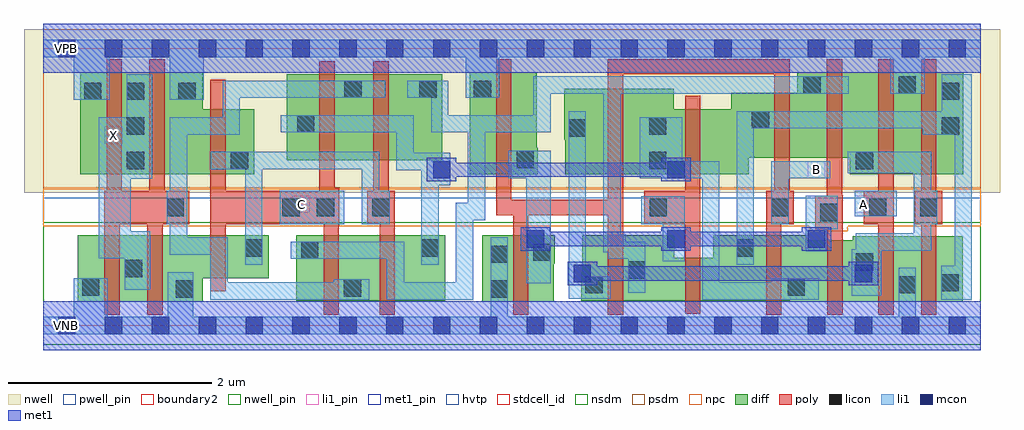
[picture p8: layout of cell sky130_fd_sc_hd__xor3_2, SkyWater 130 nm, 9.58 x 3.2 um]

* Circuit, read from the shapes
.subckt sky130_fd_sc_hd__xor3_2 A B C VGND VNB VPB VPWR X
XM1 X n1 VGND VNB sky130_fd_pr__nfet_01v8 w=0.65 l=0.15 m=2
XM2 n2 C VGND VNB sky130_fd_pr__nfet_01v8 w=0.42 l=0.15
XM3 n1 C n3 VNB sky130_fd_pr__nfet_01v8 w=0.64 l=0.15
XM4 n4 n2 n1 VNB sky130_fd_pr__nfet_01v8 w=0.64 l=0.15
XM5 n5 B VGND VNB sky130_fd_pr__nfet_01v8 w=0.65 l=0.15
XM6 n3 B n6 VNB sky130_fd_pr__nfet_01v8 w=0.64 l=0.15
XM7 n7 n5 n3 VNB sky130_fd_pr__nfet_01v8 w=0.42 l=0.15
XM8 n4 B n7 VNB sky130_fd_pr__nfet_01v8 w=0.64 l=0.15
XM9 n6 n5 n4 VNB sky130_fd_pr__nfet_01v8 w=0.6 l=0.15
XM10 VGND A n6 VNB sky130_fd_pr__nfet_01v8 w=0.64 l=0.15
XM11 n7 n6 VGND VNB sky130_fd_pr__nfet_01v8 w=0.64 l=0.15
XM12 X n1 VPWR VPB sky130_fd_pr__pfet_01v8_hvt w=1 l=0.15 m=2
XM13 n2 C VPWR VPB sky130_fd_pr__pfet_01v8_hvt w=0.64 l=0.15
XM14 n1 C n4 VPB sky130_fd_pr__pfet_01v8_hvt w=0.84 l=0.15
XM15 n3 n2 n1 VPB sky130_fd_pr__pfet_01v8_hvt w=0.84 l=0.15
XM16 n5 B VPWR VPB sky130_fd_pr__pfet_01v8_hvt w=1 l=0.15
XM17 n4 B n6 VPB sky130_fd_pr__pfet_01v8_hvt w=0.84 l=0.15
XM18 n7 n5 n4 VPB sky130_fd_pr__pfet_01v8_hvt w=0.64 l=0.15
XM19 n3 B n7 VPB sky130_fd_pr__pfet_01v8_hvt w=0.64 l=0.15
XM20 n6 n5 n3 VPB sky130_fd_pr__pfet_01v8_hvt w=0.84 l=0.15
XM21 VPWR A n6 VPB sky130_fd_pr__pfet_01v8_hvt w=1 l=0.15
XM22 n7 n6 VPWR VPB sky130_fd_pr__pfet_01v8_hvt w=1 l=0.15
.ends

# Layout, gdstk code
import gdstk
lib = gdstk.Library(unit=1e-6, precision=1e-09)
def R(c, l, rs):  # rectangles x0, y0, x1, y1
    for r in rs: c.add(gdstk.rectangle(r[:2], r[2:], *l))
def A(c, l, x, y, w, h, nx, ny, dx, dy):  # array of equal rectangles
    R(c, l, [(x+i*dx, y+j*dy, x+i*dx+w, y+j*dy+h) for i in range(nx) for j in range(ny)])
def P(c, l, *ps):  # polygons
    for p in ps: c.add(gdstk.Polygon(p, *l))
nwell_pin = (64, 16)
nwell = (64, 20)
diff = (65, 20)
poly = (66, 20)
licon = (66, 44)
li1_pin = (67, 16)
li1 = (67, 20)
mcon = (67, 44)
met1_pin = (68, 16)
met1 = (68, 20)
hvtp = (78, 44)
stdcell_id = (81, 4)
nsdm = (93, 44)
psdm = (94, 20)
npc = (95, 20)
pwell_pin = (122, 16)
boundary2 = (236, 0)

sky130_fd_sc_hd__xor3_2 = lib.new_cell('sky130_fd_sc_hd__xor3_2')
R(sky130_fd_sc_hd__xor3_2, nwell_pin, [(0.145,2.635,0.315,2.805)])
R(sky130_fd_sc_hd__xor3_2, nwell, [(-0.19,1.305,9.39,2.91)])
R(sky130_fd_sc_hd__xor3_2, diff, [(2.48,0.245,3.945,0.885), (2.39,1.625,3.915,2.465)])
P(sky130_fd_sc_hd__xor3_2, diff, [(0.34,0.235),(0.34,0.885),(2.21,0.885),(2.21,0.465),(1.565,0.465),(1.565,0.235)],
  [(0.36,1.485),(0.36,2.485),(1.565,2.485),(1.565,2.125),(2.07,2.125),(2.07,1.485)],
  [(4.185,1.485),(4.185,2.485),(4.845,2.485),(4.845,1.745),(4.855,1.745),(4.855,1.485)],
  [(4.31,0.235),(4.31,0.885),(5.02,0.885),(5.02,0.605),(5.01,0.605),(5.01,0.235)],
  [(7.33,0.235),(7.33,0.245),(5.28,0.245),(5.28,0.525),(5.29,0.525),(5.29,0.885),(6.195,0.885),(6.195,0.665),(6.575,0.665),(6.575,0.885),(7.495,0.885),(7.495,0.835),(7.945,0.835),(7.945,0.875),(9.025,0.875),(9.025,0.235)],
  [(5.125,1.485),(5.125,1.825),(5.115,1.825),(5.115,2.325),(6.19,2.325),(6.19,2.125),(6.75,2.125),(6.75,2.285),(7.4,2.285),(7.4,2.485),(9.03,2.485),(9.03,1.485),(7.915,1.485),(7.915,1.645),(6.925,1.645),(6.925,1.485)])
P(sky130_fd_sc_hd__xor3_2, poly, [(0.6,0.105),(0.6,1.325),(0.62,1.325),(0.62,2.615),(0.77,2.615),(0.77,1.325),(1.04,1.325),(1.04,2.615),(1.19,2.615),(1.19,1.325),(1.43,1.325),(1.43,0.995),(1.17,0.995),(1.17,0.105),(1.02,0.105),(1.02,0.995),(0.75,0.995),(0.75,0.105)],
  [(7.695,0.105),(7.695,0.945),(7.575,0.945),(7.575,1.275),(7.69,1.275),(7.69,2.615),(7.84,2.615),(7.84,1.28),(7.845,1.28),(7.845,0.105)],
  [(8.195,0.105),(8.195,0.995),(8.055,0.995),(8.055,1.325),(8.195,1.325),(8.195,2.615),(8.345,2.615),(8.345,0.105)],
  [(8.615,0.105),(8.615,0.995),(8.555,0.995),(8.555,1.325),(8.615,1.325),(8.615,2.615),(8.765,2.615),(8.765,1.325),(8.825,1.325),(8.825,0.995),(8.765,0.995),(8.765,0.105)],
  [(3.3,0.105),(3.3,0.995),(3.18,0.995),(3.18,1.325),(3.24,1.325),(3.24,2.595),(3.39,2.595),(3.39,1.325),(3.45,1.325),(3.45,0.105)],
  [(2.75,0.105),(2.75,0.995),(1.79,0.995),(1.79,0.335),(1.64,0.335),(1.64,2.415),(1.79,2.415),(1.79,1.325),(2.71,1.325),(2.71,2.595),(2.86,2.595),(2.86,1.355),(2.905,1.355),(2.905,0.985),(2.9,0.985),(2.9,0.105)],
  [(6.3,0.115),(6.3,0.995),(5.9,0.995),(5.9,1.325),(6.3,1.325),(6.3,2.255),(6.45,2.255),(6.45,0.115)],
  [(4.61,0.105),(4.61,1.085),(4.445,1.085),(4.445,2.615),(4.595,2.615),(4.595,1.235),(5.54,1.235),(5.54,2.615),(7.325,2.615),(7.325,1.325),(7.365,1.325),(7.365,0.995),(7.245,0.995),(7.245,0.105),(7.095,0.105),(7.095,1.325),(7.175,1.325),(7.175,2.465),(5.69,2.465),(5.69,0.105),(5.54,0.105),(5.54,1.085),(4.76,1.085),(4.76,0.105)])
A(sky130_fd_sc_hd__xor3_2, licon, 0.82, 1.535, 0.17, 0.17, 1, 3, 0, 0.34)
R(sky130_fd_sc_hd__xor3_2, licon, [(1.3,0.275,1.47,0.445), (4.39,0.275,4.56,0.445), (2.95,0.285,3.12,0.455), (0.38,0.295,0.55,0.465), (7.305,0.295,7.475,0.465), (5.32,0.315,5.49,0.485), (8.395,0.315,8.565,0.485), (8.815,0.335,8.985,0.505), (5.74,0.46,5.91,0.63), (0.8,0.475,0.97,0.645), (7.975,0.54,8.145,0.71), (4.39,0.615,4.56,0.785), (4.81,0.635,4.98,0.805), (2.53,0.655,2.7,0.825), (1.98,0.675,2.15,0.845), (3.71,0.675,3.88,0.845), (6.805,0.675,6.975,0.845), (7.625,1.025,7.795,1.195), (1.21,1.075,1.38,1.245), (2.345,1.075,2.515,1.245), (2.685,1.075,2.855,1.245), (3.23,1.075,3.4,1.245), (5.95,1.075,6.12,1.245), (7.145,1.075,7.315,1.245), (8.105,1.075,8.275,1.245), (8.605,1.075,8.775,1.245), (1.84,1.535,2.01,1.705), (5.945,1.535,6.115,1.705), (7.975,1.535,8.145,1.705), (4.645,1.545,4.815,1.715), (5.155,1.855,5.325,2.025), (5.945,1.875,6.115,2.045), (8.82,1.875,8.99,2.045), (2.49,1.895,2.66,2.065), (6.955,1.935,7.125,2.105), (0.4,2.215,0.57,2.385), (1.325,2.215,1.495,2.385), (8.82,2.215,8.99,2.385), (2.955,2.235,3.125,2.405), (3.69,2.235,3.86,2.405), (4.225,2.235,4.395,2.405), (7.46,2.275,7.63,2.445), (8.395,2.275,8.565,2.445)])
R(sky130_fd_sc_hd__xor3_2, li1_pin, [(2.445,1.105,2.615,1.275), (7.965,1.105,8.135,1.275), (7.505,1.445,7.675,1.615), (0.605,1.785,0.775,1.955)])
R(sky130_fd_sc_hd__xor3_2, li1, [(2.32,0.995,2.955,1.325), (7.965,1.075,8.375,1.325)])
P(sky130_fd_sc_hd__xor3_2, li1, [(1.98,0.595),(1.98,1.535),(1.645,1.535),(1.645,1.705),(3.295,1.705),(3.295,1.325),(3.4,1.325),(3.4,0.995),(3.125,0.995),(3.125,1.535),(2.15,1.535),(2.15,0.595)],
  [(6.08,0.63),(6.08,0.995),(5.87,0.995),(5.87,1.27),(6.295,1.27),(6.295,0.63)],
  [(6.465,0.255),(6.465,1.445),(5.855,1.445),(5.855,2.045),(6.27,2.045),(6.27,1.615),(6.635,1.615),(6.635,0.425),(7.145,0.425),(7.145,0.465),(7.61,0.465),(7.61,0.255)],
  [(7.145,0.995),(7.145,1.615),(7.725,1.615),(7.725,1.445),(7.315,1.445),(7.315,0.995)],
  [(7.485,0.73),(7.485,1.275),(7.795,1.275),(7.795,0.945),(7.69,0.945),(7.69,0.73)],
  [(3.37,0.255),(3.37,0.655),(2.43,0.655),(2.43,0.825),(3.54,0.825),(3.54,0.425),(4.05,0.425),(4.05,1.205),(4.165,1.205),(4.165,1.895),(3.805,1.895),(3.805,2.235),(3.57,2.235),(3.57,2.405),(3.975,2.405),(3.975,2.065),(4.81,2.065),(4.81,2.445),(7.905,2.445),(7.905,2.275),(5.665,2.275),(5.665,0.89),(5.715,0.89),(5.715,0.825),(5.91,0.825),(5.91,0.32),(5.74,0.32),(5.74,0.655),(5.545,0.655),(5.545,0.72),(5.495,0.72),(5.495,2.275),(4.98,2.275),(4.98,1.895),(4.335,1.895),(4.335,1.035),(4.22,1.035),(4.22,0.255)],
  [(7.935,0.295),(7.935,0.75),(7.975,0.75),(7.975,0.905),(8.545,0.905),(8.545,1.495),(7.895,1.495),(7.895,1.705),(8.715,1.705),(8.715,1.325),(8.775,1.325),(8.775,0.995),(8.715,0.995),(8.715,0.735),(8.225,0.735),(8.225,0.295)],
  [(8.815,0.255),(8.815,0.585),(8.945,0.585),(8.945,1.875),(8.63,1.875),(8.63,1.935),(6.975,1.935),(6.975,0.595),(6.805,0.595),(6.805,2.105),(8.82,2.105),(8.82,2.465),(9.115,2.465),(9.115,0.255)],
  [(0.3,2.215),(0.3,2.635),(0,2.635),(0,2.805),(9.2,2.805),(9.2,2.635),(8.65,2.635),(8.65,2.275),(8.315,2.275),(8.315,2.635),(4.475,2.635),(4.475,2.235),(4.145,2.235),(4.145,2.635),(1.575,2.635),(1.575,2.215),(1.24,2.215),(1.24,2.635),(0.65,2.635),(0.65,2.215)],
  [(0,-0.085),(0,0.085),(0.3,0.085),(0.3,0.465),(0.63,0.465),(0.63,0.085),(1.22,0.085),(1.22,0.525),(1.47,0.525),(1.47,0.085),(4.39,0.085),(4.39,0.865),(4.56,0.865),(4.56,0.085),(8.395,0.085),(8.395,0.565),(8.565,0.565),(8.565,0.085),(9.2,0.085),(9.2,-0.085)],
  [(0.8,0.35),(0.8,0.66),(0.545,0.66),(0.545,2.045),(0.82,2.045),(0.82,2.465),(1.07,2.465),(1.07,1.44),(0.86,1.44),(0.86,0.925),(1.05,0.925),(1.05,0.35)],
  [(4.74,0.415),(4.74,1.445),(4.565,1.445),(4.565,1.715),(4.98,1.715),(4.98,0.415)],
  [(3.71,0.595),(3.71,1.525),(3.465,1.525),(3.465,1.895),(2.33,1.895),(2.33,2.065),(3.635,2.065),(3.635,1.695),(3.995,1.695),(3.995,1.375),(3.88,1.375),(3.88,0.595)],
  [(1.64,0.255),(1.64,0.695),(1.24,0.695),(1.24,0.995),(1.21,0.995),(1.21,1.325),(1.24,1.325),(1.24,2.045),(1.76,2.045),(1.76,2.405),(3.355,2.405),(3.355,2.235),(1.93,2.235),(1.93,1.875),(1.41,1.875),(1.41,0.865),(1.81,0.865),(1.81,0.425),(2.85,0.425),(2.85,0.455),(3.2,0.455),(3.2,0.255)],
  [(5.155,0.265),(5.155,2.105),(5.325,2.105),(5.325,0.595),(5.375,0.595),(5.375,0.485),(5.57,0.485),(5.57,0.265)])
A(sky130_fd_sc_hd__xor3_2, mcon, 0.145, -0.085, 0.17, 0.17, 20, 2, 0.46, 2.72)
A(sky130_fd_sc_hd__xor3_2, mcon, 4.745, 0.765, 0.17, 0.17, 3, 1, 1.38, 0)
R(sky130_fd_sc_hd__xor3_2, mcon, [(5.205,0.425,5.375,0.595), (7.965,0.425,8.135,0.595), (3.825,1.445,3.995,1.615), (6.125,1.445,6.295,1.615)])
R(sky130_fd_sc_hd__xor3_2, met1_pin, [(0.145,-0.085,0.315,0.085), (0.145,2.635,0.315,2.805)])
P(sky130_fd_sc_hd__xor3_2, met1, [(3.765,1.415),(3.765,1.645),(4.055,1.645),(4.055,1.6),(6.065,1.6),(6.065,1.645),(6.355,1.645),(6.355,1.415),(6.065,1.415),(6.065,1.46),(4.055,1.46),(4.055,1.415)],
  [(4.685,0.735),(4.685,0.965),(4.975,0.965),(4.975,0.92),(6.065,0.92),(6.065,0.965),(6.355,0.965),(6.355,0.92),(7.445,0.92),(7.445,0.965),(7.735,0.965),(7.735,0.735),(7.445,0.735),(7.445,0.78),(6.355,0.78),(6.355,0.735),(6.065,0.735),(6.065,0.78),(4.975,0.78),(4.975,0.735)],
  [(5.145,0.395),(5.145,0.625),(5.435,0.625),(5.435,0.58),(7.905,0.58),(7.905,0.625),(8.195,0.625),(8.195,0.395),(7.905,0.395),(7.905,0.44),(5.435,0.44),(5.435,0.395)])
R(sky130_fd_sc_hd__xor3_2, hvtp, [(0,1.25,9.2,2.72)])
R(sky130_fd_sc_hd__xor3_2, stdcell_id, [(0,0,9.2,2.72)])
R(sky130_fd_sc_hd__xor3_2, nsdm, [(0,-0.19,9.2,1.015)])
R(sky130_fd_sc_hd__xor3_2, psdm, [(0,1.355,9.2,2.91)])
P(sky130_fd_sc_hd__xor3_2, npc, [(7.525,0.925),(7.525,0.975),(0,0.975),(0,1.345),(9.2,1.345),(9.2,0.975),(7.895,0.975),(7.895,0.925)])
R(sky130_fd_sc_hd__xor3_2, pwell_pin, [(0.145,-0.085,0.315,0.085)])
R(sky130_fd_sc_hd__xor3_2, boundary2, [(0,0,9.2,2.72)])
sky130_fd_sc_hd__xor3_2.add(gdstk.FlexPath([(0,2.72),(9.2,2.72)], 0.48, ends="flush", simple_path=True, layer=68, datatype=20))  # met1
sky130_fd_sc_hd__xor3_2.add(gdstk.FlexPath([(0,0),(9.2,0)], 0.48, ends="flush", simple_path=True, layer=68, datatype=20))  # met1
sky130_fd_sc_hd__xor3_2.add(gdstk.Label('X', (0.69,1.87), layer=67, texttype=5))
sky130_fd_sc_hd__xor3_2.add(gdstk.Label('C', (2.53,1.19), layer=67, texttype=5))
sky130_fd_sc_hd__xor3_2.add(gdstk.Label('B', (7.59,1.53), layer=67, texttype=5))
sky130_fd_sc_hd__xor3_2.add(gdstk.Label('A', (8.05,1.19), layer=67, texttype=5))
sky130_fd_sc_hd__xor3_2.add(gdstk.Label('VNB', (0.23,0), layer=64, texttype=59))
sky130_fd_sc_hd__xor3_2.add(gdstk.Label('VPB', (0.23,2.72), layer=64, texttype=5))
sky130_fd_sc_hd__xor3_2.add(gdstk.Label('VGND', (0.23,0), layer=68, texttype=5))
sky130_fd_sc_hd__xor3_2.add(gdstk.Label('VPWR', (0.23,2.72), layer=68, texttype=5))
sky130_fd_sc_hd__xor3_2.add(gdstk.Label('hkscl5hdv1_xor3_1', (0,0), layer=83, texttype=44))
sky130_fd_sc_hd__xor3_2.add(gdstk.Label('HHNEC', (0,2.72), layer=83, texttype=44))

lib.write_gds('sky130_fd_sc_hd__xor3_2.gds')
